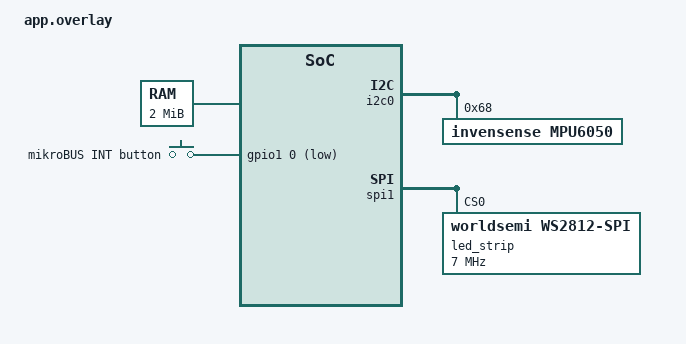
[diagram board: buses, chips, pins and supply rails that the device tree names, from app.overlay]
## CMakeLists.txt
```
cmake_minimum_required(VERSION 3.20.0)

# Tilt Maze reuses the VDMA/HDMI drivers and the out-of-tree devicetree
# bindings from Flappy Microchip rather than copying them.
set(FLAPPY "${CMAKE_CURRENT_SOURCE_DIR}/../flappy-microchip/source")

# The Flappy source root contains dts/bindings/ — tell Zephyr to search it.
list(APPEND DTS_ROOT "${FLAPPY}")

find_package(Zephyr REQUIRED HINTS $ENV{ZEPHYR_BASE})

project(tilt_maze)

set(DRIVERS "${FLAPPY}/drivers")
set(CHIPMUNK "${CMAKE_CURRENT_SOURCE_DIR}/../flappy-chipmunk2d/source/demos/pic64_smp_hello/chipmunk")
file(GLOB CHIPMUNK_SOURCES "${CHIPMUNK}/src/*.c")

target_sources(app PRIVATE
    src/main.c
    src/maze_map.c
    src/maze_physics.c
    src/maze_ui.c
    src/maze_game.c
    src/gy521.c
    src/button.c
    src/led_ring.c
    ${CHIPMUNK_SOURCES}
    src/img_gameover.c
    src/img_victory.c
    src/img_player.c
    src/img_title_top.c
    src/img_title_bot.c
    ${DRIVERS}/vdma_disp/vdma_disp.c
    ${DRIVERS}/hdmi_fb/hdmi_fb.c
)

# hdmi_fb.c includes vdma_disp.h — expose both driver directories
target_include_directories(app PRIVATE
    src
    ${CHIPMUNK}/include
    ${DRIVERS}/vdma_disp
    ${DRIVERS}/hdmi_fb
)

target_link_libraries(app PRIVATE m)
```

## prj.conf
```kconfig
# Tilt Maze controlled by a GY-521 (MPU-6050) IMU over I2C
CONFIG_SMP=y
CONFIG_MP_MAX_NUM_CPUS=4
CONFIG_SCHED_CPU_MASK=y

CONFIG_SERIAL=y
CONFIG_CONSOLE=y
CONFIG_UART_CONSOLE=y
CONFIG_PRINTK=y

CONFIG_MAIN_STACK_SIZE=4096
CONFIG_FPU_SHARING=y
CONFIG_DYNAMIC_INTERRUPTS=y

CONFIG_GPIO=y

# GY-521 (MPU-6050) tilt input via Zephyr Sensor subsystem
CONFIG_I2C=y
CONFIG_SENSOR=y
CONFIG_MPU6050=y
CONFIG_MPU6050_TRIGGER_NONE=y

# ── Thread introspection ────────────────────────────────────────────────────
CONFIG_THREAD_MONITOR=y
CONFIG_THREAD_NAME=y
CONFIG_THREAD_STACK_INFO=y
CONFIG_INIT_STACKS=y

# ── Zephyr shell on UART ────────────────────────────────────────────────────
CONFIG_SHELL=y
CONFIG_SHELL_BACKEND_SERIAL=y
CONFIG_KERNEL_SHELL=y

# ── Display driver ──────────────────────────────────────────────────────────
CONFIG_DISPLAY=y

# ── LVGL ────────────────────────────────────────────────────────────────────
CONFIG_LVGL=y
CONFIG_LV_Z_AUTO_INIT=y
CONFIG_LV_Z_RUN_LVGL_ON_WORKQUEUE=n
CONFIG_LV_COLOR_DEPTH_16=y
CONFIG_LV_Z_VDB_SIZE=5
CONFIG_LV_Z_BUFFER_ALLOC_STATIC=y
# 192 KB heap — complex screens + chart series data
CONFIG_LV_Z_MEM_POOL_SIZE=196608

# ── Widgets ─────────────────────────────────────────────────────────────────
CONFIG_LV_USE_LABEL=y
CONFIG_LV_USE_BAR=y
CONFIG_LV_USE_TABLE=y
CONFIG_LV_USE_ARC=y
CONFIG_LV_USE_CHART=y
CONFIG_LV_USE_BUTTON=y
CONFIG_LV_USE_SLIDER=y
CONFIG_LV_USE_SWITCH=y
CONFIG_LV_USE_CHECKBOX=y
CONFIG_LV_USE_LED=y
CONFIG_LV_USE_ROLLER=y
CONFIG_LV_USE_SCALE=y
CONFIG_LV_USE_LINE=y
CONFIG_LV_USE_SPINBOX=y
CONFIG_LV_USE_DROPDOWN=y
CONFIG_LV_USE_FLEX=y
CONFIG_LV_USE_GRID=y

# ── Fonts ───────────────────────────────────────────────────────────────────
CONFIG_LV_FONT_MONTSERRAT_14=y
CONFIG_LV_FONT_MONTSERRAT_20=y
CONFIG_LV_FONT_MONTSERRAT_32=y
CONFIG_LV_FONT_MONTSERRAT_48=y

# YUYV422 requires even-x pixel-pair alignment for all dirty regions
CONFIG_LV_Z_AREA_X_ALIGNMENT_WIDTH=2
```

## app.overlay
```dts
/*
 * app.overlay — Tilt Maze with GY-521 (MPU-6050) motion control
 *
 * Hardware nodes (VDMA, DC, HDMI framebuffer) are in the shared overlay.
 * This file adds the Zephyr SRAM region and completes the chosen node.
 *
 * SMP atomics (AMO/LR-SC on SiFive U54) require the L2 cache, so Zephyr
 * must run from cached DDR at 0x80000000, not from LIM or scratchpad.
 */

#include <zephyr/dt-bindings/input/input-event-codes.h>
#include <zephyr/dt-bindings/led/led.h>
#include "../flappy-microchip/source/dts/overlays/pic64gx_display.overlay"

/ {
	cached_ram: memory@80000000 {
		compatible = "mmio-sram";
		reg = <0x80000000 0x200000>;   /* 2 MB cached DDR */
	};

	chosen {
		zephyr,sram = &cached_ram;
	};

	aliases {
		mikrobus-btn = &mikrobus_btn;
		led-strip = &led_strip;
	};

	/* mikroBUS INT push button (10k pull-up to 3P3V, other leg to GND) */
	mikrobus_keys {
		compatible = "gpio-keys";

		mikrobus_btn: mikrobus_btn {
			gpios = <&gpio1 0 GPIO_ACTIVE_LOW>;
			label = "mikroBUS INT button";
			zephyr,code = <INPUT_KEY_2>;
		};
	};
};

&i2c0 {
	status = "okay";
	mpu6050: mpu6050@68 {
		compatible = "invensense,mpu6050";
		reg = <0x68>;
		status = "okay";
		accel-fs = <2>;
		gyro-fs = <250>;
		smplrt-div = <4>;
	};
};

/*
 * WS2812 ring on the mikroBUS MOSI pin (DIN), driven by SPI1.
 *
 * The MSS SPI clock is 150 MHz / (2 * (idx + 1)). Asking for 7 MHz selects
 * idx = 11, i.e. 6.25 MHz, so one 8-bit SPI byte is one WS2812 bit (1.28 us):
 *   '1' = 0xF8 -> 800 ns high, 480 ns low
 *   '0' = 0xC0 -> 320 ns high, 960 ns low
 * Requests below ~4.7 MHz do not work: the driver falls back to divider 0.
 */
&spi1 {
	status = "okay";

	led_strip: ws2812@0 {
		compatible = "worldsemi,ws2812-spi";
		reg = <0>;
		spi-max-frequency = <7000000>;
		chain-length = <14>;   /* number of LEDs on the ring */
		color-mapping = <LED_COLOR_ID_GREEN
				 LED_COLOR_ID_RED
				 LED_COLOR_ID_BLUE>;
		spi-one-frame = <0xF8>;
		spi-zero-frame = <0xC0>;
	};
};
```

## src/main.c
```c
/* SPDX-License-Identifier: Apache-2.0
 *
 * Tilt Maze — 2D Marble Labyrinth for PIC64GX Curiosity Kit
 *
 * Controlled by a GY-521 (InvenSense MPU-6050) IMU over I2C.
 * Rendered using native LVGL v9 scene graph objects and Chipmunk2D physics.
 * UI, physics, game rules and sensor each run in their own thread on their
 * own core (see maze_cores.h).
 */

#include <zephyr/kernel.h>
#include <zephyr/drivers/display.h>
#include <zephyr/sys/printk.h>
#include <lvgl.h>

#include "maze_map.h"
#include "maze_physics.h"
#include "maze_ui.h"
#include "maze_game.h"
#include "gy521.h"
#include "button.h"
#include "led_ring.h"

int main(void)
{
	printk("[tilt_maze] Booting Tilt Maze...\n");

	const struct device *display = DEVICE_DT_GET(DT_CHOSEN(zephyr_display));
	if (!device_is_ready(display)) {
		printk("[tilt_maze] Error: Display device not ready!\n");
		return 0;
	}
	display_blanking_off(display);

	/* Build shared state single-threaded, then hand each module its own core */
	maze_map_init();
	maze_physics_init();
	maze_game_init();

	gy521_start();        /* core 3: sensor */
	maze_physics_start(); /* core 1: physics */
	maze_game_start();    /* core 2: game rules */
	maze_ui_start();      /* core 0: LVGL */
	led_ring_start();     /* core 2: LED ring follows the game state */
	button_start(maze_game_on_button); /* core 3: button controls game start/restart */

	printk("[tilt_maze] Initialization complete. UI/physics/game/sensor running on cores 0-3.\n");

	/* Everything runs in the pinned threads; main has nothing left to do. */
	return 0;
}
```

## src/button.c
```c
/* SPDX-License-Identifier: Apache-2.0 */
/*
 * mikroBUS INT push button for Tilt Maze (gpio1 pin 0, see app.overlay).
 *
 * A polling thread debounces the button and invokes the callback on press.
 */

#include "button.h"
#include "maze_cores.h"

#include <zephyr/kernel.h>
#include <zephyr/drivers/gpio.h>
#include <zephyr/sys/printk.h>

#define BUTTON_STACK         2048
#define BUTTON_PRIO          5
#define POLL_MS              10
#define DEBOUNCE_SAMPLES     3     /* equal reads in a row before a change counts */
#define BUTTON_LONG_PRESS_MS 1000  /* held >= 1s is long press */

static const struct gpio_dt_spec btn = GPIO_DT_SPEC_GET(DT_ALIAS(mikrobus_btn), gpios);

static K_THREAD_STACK_DEFINE(button_stack, BUTTON_STACK);
static struct k_thread button_thread;

static void button_fn(void *p1, void *p2, void *p3)
{
	void (*on_event)(button_event_t event) = p1;

	ARG_UNUSED(p2); ARG_UNUSED(p3);

	if (!gpio_is_ready_dt(&btn) || gpio_pin_configure_dt(&btn, GPIO_INPUT) != 0) {
		printk("[button] GPIO not ready\n");
		return;
	}

	int pressed = gpio_pin_get_dt(&btn);
	int differing = 0;
	int held_ms = 0;
	bool long_pressed = false;

	printk("[button] mikroBUS button ready (long press = %d ms)\n", BUTTON_LONG_PRESS_MS);

	while (true) {
		int level = gpio_pin_get_dt(&btn);

		if (level == pressed) {
			differing = 0;
		} else if (++differing >= DEBOUNCE_SAMPLES) {
			pressed = level;
			differing = 0;

			if (!pressed) {
				/* Button released */
				if (!long_pressed && held_ms > 0) {
					printk("[button] Short press\n");
					if (on_event) {
						on_event(BUTTON_EVENT_SHORT);
					}
				}
				held_ms = 0;
				long_pressed = false;
			} else {
				/* Button pressed down */
				held_ms = 0;
				long_pressed = false;
			}
		}

		if (pressed && !long_pressed) {
			held_ms += POLL_MS;
			if (held_ms >= BUTTON_LONG_PRESS_MS) {
				long_pressed = true;
				printk("[button] Long press\n");
				if (on_event) {
					on_event(BUTTON_EVENT_LONG);
				}
			}
		}

		k_msleep(POLL_MS);
	}
}

void button_start(void (*on_event)(button_event_t event))
{
	k_tid_t tid = k_thread_create(&button_thread, button_stack,
				      K_THREAD_STACK_SIZEOF(button_stack), button_fn,
				      on_event, NULL, NULL, BUTTON_PRIO, 0, K_FOREVER);

	k_thread_name_set(tid, "button");
	k_thread_cpu_mask_clear(tid);
	k_thread_cpu_mask_enable(tid, MAZE_CORE_BUTTON);
	k_thread_start(tid);
}
```

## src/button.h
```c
/* SPDX-License-Identifier: Apache-2.0 */
#ifndef SRC_BUTTON_H
#define SRC_BUTTON_H

typedef enum {
	BUTTON_EVENT_SHORT,
	BUTTON_EVENT_LONG,
} button_event_t;

/**
 * Start the mikroBUS INT push-button thread (pinned to MAZE_CORE_BUTTON).
 *
 * The button is polled and debounced. Short presses fire BUTTON_EVENT_SHORT
 * upon release. Long presses fire BUTTON_EVENT_LONG when held for >= 1 second.
 */
void button_start(void (*on_event)(button_event_t event));

#endif /* SRC_BUTTON_H */
```

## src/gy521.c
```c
/* SPDX-License-Identifier: Apache-2.0 */
/*
 * GY-521 (InvenSense MPU-6050) tilt input for Tilt Maze.
 *
 * Uses Zephyr's standard sensor subsystem (<zephyr/drivers/sensor.h>)
 * and the upstream MPU-6050 driver (CONFIG_MPU6050=y).
 *
 * A reader thread samples the accelerometer at 100 Hz and turns the gravity
 * vector on the X/Y axes into a smoothed tilt that the game polls once per
 * frame through gy521_get_tilt(). It runs pinned to its own core.
 */

#include "gy521.h"
#include "maze_cores.h"

#include <zephyr/kernel.h>
#include <zephyr/device.h>
#include <zephyr/drivers/sensor.h>
#include <zephyr/sys/atomic.h>
#include <zephyr/sys/printk.h>

/* ── Tuning ───────────────────────────────────────────────────────────────── */
#define TILT_INVERT_X   1
#define TILT_INVERT_Y   1
#define TILT_SWAP_XY    1

/* Weight of each new sample in the low-pass filter. Lower is smoother but laggier. */
#define TILT_FILTER_ALPHA  0.1f

#define SAMPLE_PERIOD_MS   10   /* 100 Hz */

/* Standard gravity in m/s^2 (Zephyr sensor subsystem reports m/s^2) */
#define GRAVITY_MSS        9.80665f

#define GY521_DEBUG_PRINT    0
#define DEBUG_PRINT_EVERY_N  10

/* ── State shared with the game ───────────────────────────────────────────── */

/* Tilt in micro-g, so that x and y can be shared as plain atomics. */
static atomic_t tilt_x_ug;
static atomic_t tilt_y_ug;
static atomic_t sensor_ready;

bool gy521_ready(void)
{
	return atomic_get(&sensor_ready) != 0;
}

void gy521_get_tilt(float *x, float *y)
{
	*x = (float)atomic_get(&tilt_x_ug) / 1e6f;
	*y = (float)atomic_get(&tilt_y_ug) / 1e6f;
}

/* ── Reader thread ────────────────────────────────────────────────────────── */

#define GY521_STACK 2048
#define GY521_PRIO  5
#define MAX_CONSECUTIVE_ERRORS 20

static K_THREAD_STACK_DEFINE(gy521_stack, GY521_STACK);
static struct k_thread gy521_thread;

static void gy521_fn(void *p1, void *p2, void *p3)
{
	ARG_UNUSED(p1); ARG_UNUSED(p2); ARG_UNUSED(p3);

	const struct device *const dev = DEVICE_DT_GET_ANY(invensense_mpu6050);

	if (!dev || !device_is_ready(dev)) {
		printk("[gy521] MPU-6050 sensor device not ready / not found\n");
		return;
	}

	atomic_set(&sensor_ready, 1);
	printk("[gy521] MPU-6050 ready via Zephyr sensor subsystem, streaming tilt\n");

	float fx = 0.0f, fy = 0.0f;
	int errors = 0;
	unsigned int n = 0;
	struct sensor_value accel[3];

	while (true) {
		int ret = sensor_sample_fetch_chan(dev, SENSOR_CHAN_ACCEL_XYZ);
		if (ret == 0) {
			ret = sensor_channel_get(dev, SENSOR_CHAN_ACCEL_XYZ, accel);
		}

		if (ret != 0) {
			if (++errors >= MAX_CONSECUTIVE_ERRORS) {
				printk("[gy521] too many sensor read errors (%d), stopping\n", ret);
				break;
			}
		} else {
			errors = 0;

			/* Convert m/s^2 to g */
			float ax = (float)sensor_value_to_double(&accel[0]) / GRAVITY_MSS;
			float ay = (float)sensor_value_to_double(&accel[1]) / GRAVITY_MSS;

			if (TILT_SWAP_XY) {
				float t = ax; ax = ay; ay = t;
			}
			if (TILT_INVERT_X) {
				ax = -ax;
			}
			if (TILT_INVERT_Y) {
				ay = -ay;
			}

			fx += TILT_FILTER_ALPHA * (ax - fx);
			fy += TILT_FILTER_ALPHA * (ay - fy);
			atomic_set(&tilt_x_ug, (atomic_val_t)(fx * 1e6f));
			atomic_set(&tilt_y_ug, (atomic_val_t)(fy * 1e6f));

			if (GY521_DEBUG_PRINT && ++n % DEBUG_PRINT_EVERY_N == 0) {
				printk("[gy521] tilt x=%d y=%d (mg)\n",
				       (int)(fx * 1000.0f), (int)(fy * 1000.0f));
			}
		}

		k_msleep(SAMPLE_PERIOD_MS);
	}

	/* Sensor lost: stop steering rather than freezing on the last tilt. */
	atomic_set(&sensor_ready, 0);
	atomic_set(&tilt_x_ug, 0);
	atomic_set(&tilt_y_ug, 0);
}

void gy521_start(void)
{
	maze_thread_spawn(&gy521_thread, gy521_stack,
			  K_THREAD_STACK_SIZEOF(gy521_stack),
			  gy521_fn, GY521_PRIO, MAZE_CORE_SENSOR, "gy521");
}
```

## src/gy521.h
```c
/* SPDX-License-Identifier: Apache-2.0 */
#ifndef SRC_GY521_H
#define SRC_GY521_H

#include <stdbool.h>

/**
 * Start the GY-521 (InvenSense MPU-6050) reader thread.
 *
 * The thread probes i2c0/i2c1 for the sensor, configures it and then samples
 * the accelerometer at 100 Hz. The tilt of the board is the gravity vector seen
 * on the X and Y axes. If no sensor answers the thread exits and the tilt stays
 * at zero, so it is safe to call without a GY-521 attached.
 */
void gy521_start(void);

/** True once the sensor has been found and is streaming. */
bool gy521_ready(void);

/**
 * Low-pass filtered tilt in g. With the board lying flat both are ~0, and
 * they approach +/-1 as it is tipped up on its side.
 */
void gy521_get_tilt(float *x, float *y);

#endif /* SRC_GY521_H */
```

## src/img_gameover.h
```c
/* Auto-generated LVGL ARGB8888 image descriptor */
#ifndef IMG_GAMEOVER_H
#define IMG_GAMEOVER_H
#include <lvgl.h>
extern const lv_image_dsc_t img_gameover;
#endif
```

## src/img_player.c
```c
/* Auto-generated LVGL ARGB8888 image - PIC8 character sprite 28x28 */
#include "img_player.h"

static const uint8_t img_player_map[] = {
    0x00, 0x00, 0x00, 0x00, 0x00, 0x00, 0x00, 0x00, 0x00, 0x00, 0x00, 0x00, 0x00, 0x00, 0x00, 0x00, 0x02, 0x03, 0x01, 0xff, 0x02, 0x02, 0x02, 0xff, 0x01, 0x01, 0x01, 0xff, 0x02, 0x02, 0x02, 0xff, 0x00, 0x00, 0x00, 0xff, 0x04, 0x02, 0x01, 0xff, 0x00, 0x00, 0x00, 0xff, 0x01, 0x00, 0x02, 0xff, 0x01, 0x01, 0x01, 0xff, 0x00, 0x00, 0x00, 0xff, 0x00, 0x00, 0x00, 0xff, 0x01, 0x01, 0x01, 0xff, 0x00, 0x00, 0x00, 0xff, 0x00, 0x00, 0x00, 0xff, 0x00, 0x00, 0x00, 0xff, 0x01, 0x01, 0x01, 0xff, 0x00, 0x00, 0x00, 0xff, 0x01, 0x01, 0x01, 0xff, 0x00, 0x01, 0x01, 0xff, 0x03, 0x03, 0x03, 0xff, 0x00, 0x00, 0x00, 0x00, 0x00, 0x00, 0x00, 0x00, 0x00, 0x00, 0x00, 0x00, 0x00, 0x00, 0x00, 0x00,
    0x00, 0x00, 0x00, 0x00, 0x00, 0x00, 0x00, 0x00, 0x00, 0x00, 0x00, 0x00, 0x03, 0x03, 0x03, 0xff, 0x01, 0x03, 0x03, 0xff, 0x92, 0x97, 0x9a, 0xff, 0x8e, 0x91, 0x99, 0xff, 0x8f, 0x94, 0x97, 0xff, 0x8f, 0x94, 0x97, 0xff, 0x92, 0x97, 0x9a, 0xff, 0x92, 0x95, 0x9a, 0xff, 0x90, 0x94, 0x99, 0xff, 0x46, 0x3d, 0x40, 0xff, 0x49, 0x40, 0x43, 0xff, 0x48, 0x43, 0x45, 0xff, 0x45, 0x40, 0x42, 0xff, 0x90, 0x97, 0x9a, 0xff, 0x92, 0x95, 0x99, 0xff, 0x92, 0x95, 0x99, 0xff, 0x91, 0x94, 0x99, 0xff, 0x91, 0x94, 0x99, 0xff, 0x92, 0x97, 0x98, 0xff, 0x91, 0x95, 0x9a, 0xff, 0x03, 0x03, 0x03, 0xff, 0x01, 0x01, 0x01, 0xff, 0x00, 0x00, 0x00, 0x00, 0x00, 0x00, 0x00, 0x00, 0x00, 0x00, 0x00, 0x00,
    0x00, 0x00, 0x00, 0x00, 0x00, 0x00, 0x00, 0x00, 0x00, 0x00, 0x00, 0x00, 0x00, 0x00, 0x00, 0xff, 0x60, 0x5a, 0x5f, 0xff, 0x60, 0x5f, 0x63, 0xff, 0x5f, 0x5e, 0x60, 0xff, 0x5f, 0x5e, 0x62, 0xff, 0x5f, 0x5e, 0x62, 0xff, 0x60, 0x5f, 0x63, 0xff, 0x5e, 0x5d, 0x5f, 0xff, 0x5c, 0x5b, 0x5d, 0xff, 0x8a, 0x8f, 0x92, 0xff, 0x45, 0x3e, 0x41, 0xff, 0x48, 0x41, 0x44, 0xff, 0x8e, 0x92, 0x93, 0xff, 0x60, 0x5d, 0x5f, 0xff, 0x5f, 0x5e, 0x62, 0xff, 0x61, 0x60, 0x62, 0xff, 0x60, 0x5f, 0x61, 0xff, 0x5c, 0x5d, 0x61, 0xff, 0x5e, 0x5d, 0x5f, 0xff, 0x5e, 0x5d, 0x61, 0xff, 0x62, 0x5b, 0x62, 0xff, 0x02, 0x02, 0x02, 0xff, 0x00, 0x00, 0x00, 0x00, 0x00, 0x00, 0x00, 0x00, 0x00, 0x00, 0x00, 0x00,
    0x01, 0x01, 0x01, 0xff, 0x00, 0x00, 0x01, 0xff, 0x03, 0x04, 0x02, 0xff, 0x03, 0x03, 0x03, 0xff, 0x61, 0x5b, 0x60, 0xff, 0x5b, 0x5b, 0x61, 0xff, 0xe5, 0xe4, 0xe6, 0xff, 0xe6, 0xe4, 0xe4, 0xff, 0x60, 0x5f, 0x63, 0xff, 0x5e, 0x5d, 0x61, 0xff, 0x5e, 0x5d, 0x61, 0xff, 0x5d, 0x5c, 0x60, 0xff, 0x60, 0x5f, 0x61, 0xff, 0x60, 0x60, 0x60, 0xff, 0x60, 0x5f, 0x61, 0xff, 0x5f, 0x5e, 0x62, 0xff, 0x61, 0x5e, 0x60, 0xff, 0x5f, 0x5e, 0x62, 0xff, 0x5d, 0x5d, 0x63, 0xff, 0x5f, 0x5f, 0x5f, 0xff, 0x5f, 0x5e, 0x60, 0xff, 0x5f, 0x5f, 0x5f, 0xff, 0x5e, 0x5d, 0x61, 0xff, 0x63, 0x5d, 0x62, 0xff, 0x04, 0x04, 0x04, 0xff, 0x01, 0x01, 0x01, 0xff, 0x00, 0x00, 0x00, 0xff, 0x01, 0x02, 0x00, 0xff,
    0x00, 0x01, 0x02, 0xff, 0x71, 0x9b, 0xdc, 0xff, 0x43, 0x5f, 0x9f, 0xff, 0x00, 0x01, 0x00, 0xff, 0x5f, 0x59, 0x5e, 0xff, 0x60, 0x5f, 0x61, 0xff, 0x62, 0x61, 0x63, 0xff, 0x60, 0x62, 0x63, 0xff, 0x5e, 0x5f, 0x63, 0xff, 0x5c, 0x5e, 0x5f, 0xff, 0x5e, 0x5d, 0x5f, 0xff, 0x5d, 0x5c, 0x60, 0xff, 0x5e, 0x5d, 0x5f, 0xff, 0x5e, 0x5d, 0x5f, 0xff, 0x60, 0x5f, 0x63, 0xff, 0x5e, 0x5e, 0x5e, 0xff, 0x60, 0x5f, 0x61, 0xff, 0x5b, 0x5d, 0x5e, 0xff, 0x5e, 0x5e, 0x5e, 0xff, 0x5f, 0x5e, 0x60, 0xff, 0x5e, 0x5f, 0x63, 0xff, 0x5f, 0x5e, 0x62, 0xff, 0x60, 0x5f, 0x63, 0xff, 0x5e, 0x58, 0x5d, 0xff, 0x00, 0x00, 0x00, 0xff, 0x40, 0x5c, 0x99, 0xff, 0x6f, 0x99, 0xdc, 0xff, 0x00, 0x00, 0x01, 0xff,
    0x00, 0x00, 0x00, 0xff, 0x6c, 0x96, 0xdd, 0xff, 0x3f, 0x5a, 0x9a, 0xff, 0x03, 0x03, 0x03, 0xff, 0x63, 0x5e, 0x60, 0xff, 0x5e, 0x5f, 0x63, 0xff, 0x5d, 0x5c, 0x5e, 0xff, 0x5e, 0x5e, 0x5e, 0xff, 0x5e, 0x5d, 0x61, 0xff, 0x61, 0x60, 0x62, 0xff, 0x60, 0x60, 0x60, 0xff, 0x5f, 0x5e, 0x62, 0xff, 0x5d, 0x5e, 0x62, 0xff, 0x60, 0x60, 0x60, 0xff, 0x5c, 0x5e, 0x5f, 0xff, 0x5e, 0x5e, 0x5e, 0xff, 0x5c, 0x5b, 0x5d, 0xff, 0x5e, 0x5f, 0x63, 0xff, 0x5e, 0x5d, 0x5f, 0xff, 0x5e, 0x5d, 0x5f, 0xff, 0x5c, 0x5c, 0x5c, 0xff, 0x5e, 0x5e, 0x5e, 0xff, 0x5c, 0x5c, 0x5c, 0xff, 0x60, 0x5a, 0x5f, 0xff, 0x00, 0x00, 0x00, 0xff, 0x42, 0x5e, 0x9f, 0xff, 0x6c, 0x95, 0xda, 0xff, 0x00, 0x00, 0x00, 0xff,
    0x00, 0x01, 0x05, 0xff, 0x00, 0x00, 0x00, 0xff, 0x00, 0x00, 0x00, 0xff, 0x03, 0x03, 0x03, 0xff, 0x60, 0x5f, 0x63, 0xff, 0x61, 0x60, 0x62, 0xff, 0x5d, 0x5e, 0x62, 0xff, 0x5d, 0x5f, 0x60, 0xff, 0x5d, 0x5c, 0x60, 0xff, 0x5c, 0x5a, 0x60, 0xff, 0x5c, 0x5e, 0x5f, 0xff, 0x61, 0x60, 0x64, 0xff, 0x61, 0x60, 0x64, 0xff, 0x5c, 0x5e, 0x5f, 0xff, 0x5f, 0x5b, 0x60, 0xff, 0x5a, 0x5c, 0x5d, 0xff, 0x5d, 0x5f, 0x60, 0xff, 0x60, 0x5f, 0x61, 0xff, 0x60, 0x5f, 0x61, 0xff, 0x60, 0x5f, 0x61, 0xff, 0x5e, 0x5d, 0x5f, 0xff, 0x5d, 0x5c, 0x5e, 0xff, 0x5e, 0x60, 0x61, 0xff, 0x63, 0x5c, 0x63, 0xff, 0x03, 0x03, 0x03, 0xff, 0x03, 0x02, 0x04, 0xff, 0x02, 0x02, 0x02, 0xff, 0x00, 0x00, 0x00, 0xff,
    0x00, 0x00, 0x00, 0x00, 0x00, 0x00, 0x00, 0x00, 0x00, 0x00, 0x00, 0x00, 0x00, 0x00, 0x00, 0xff, 0x5c, 0x58, 0x5e, 0xff, 0x5d, 0x5e, 0x62, 0xff, 0x60, 0x5f, 0x63, 0xff, 0x60, 0x5f, 0x61, 0xff, 0xed, 0xed, 0xee, 0xff, 0x5d, 0x5c, 0x60, 0xff, 0xec, 0xec, 0xec, 0xff, 0x59, 0x58, 0x5c, 0xff, 0xee, 0xec, 0xec, 0xff, 0x64, 0x61, 0x63, 0xff, 0xe8, 0xe7, 0xeb, 0xff, 0x5a, 0x59, 0x5d, 0xff, 0x5a, 0x59, 0x5b, 0xff, 0xe7, 0xe6, 0xe8, 0xff, 0x60, 0x5f, 0x61, 0xff, 0xec, 0xec, 0xec, 0xff, 0x61, 0x60, 0x62, 0xff, 0x5f, 0x5e, 0x60, 0xff, 0x5c, 0x5b, 0x5f, 0xff, 0x60, 0x59, 0x60, 0xff, 0x01, 0x01, 0x01, 0xff, 0x00, 0x00, 0x00, 0x00, 0x00, 0x00, 0x00, 0x00, 0x00, 0x00, 0x00, 0x00,
    0x00, 0x00, 0x00, 0x00, 0x00, 0x00, 0x00, 0x00, 0x00, 0x00, 0x00, 0x00, 0x00, 0x00, 0x00, 0xff, 0x60, 0x59, 0x60, 0xff, 0x5f, 0x5e, 0x62, 0xff, 0x5e, 0x5f, 0x63, 0xff, 0x5b, 0x5e, 0x62, 0xff, 0xea, 0xea, 0xeb, 0xff, 0xeb, 0xea, 0xec, 0xff, 0xd9, 0xd9, 0xd9, 0xff, 0x5d, 0x5c, 0x60, 0xff, 0xe9, 0xe6, 0xe8, 0xff, 0x5d, 0x5f, 0x60, 0xff, 0xee, 0xed, 0xef, 0xff, 0x60, 0x61, 0x65, 0xff, 0x5c, 0x5e, 0x5f, 0xff, 0x5a, 0x59, 0x5d, 0xff, 0xe9, 0xe8, 0xea, 0xff, 0xec, 0xec, 0xec, 0xff, 0x60, 0x5f, 0x61, 0xff, 0x5e, 0x60, 0x61, 0xff, 0x5e, 0x5d, 0x61, 0xff, 0x60, 0x59, 0x60, 0xff, 0x00, 0x00, 0x00, 0xff, 0x00, 0x00, 0x00, 0x00, 0x00, 0x00, 0x00, 0x00, 0x00, 0x00, 0x00, 0x00,
    0x00, 0x00, 0x00, 0x00, 0x00, 0x00, 0x00, 0x00, 0x00, 0x00, 0x00, 0x00, 0x04, 0x04, 0x04, 0xff, 0x62, 0x5e, 0x63, 0xff, 0x5c, 0x5c, 0x62, 0xff, 0x5c, 0x5b, 0x5f, 0xff, 0x5f, 0x5f, 0x5f, 0xff, 0xe6, 0xe5, 0xe7, 0xff, 0x5e, 0x5d, 0x61, 0xff, 0x5e, 0x5d, 0x5f, 0xff, 0xeb, 0xea, 0xec, 0xff, 0xe8, 0xe7, 0xe9, 0xff, 0xe5, 0xe6, 0xe4, 0xff, 0xef, 0xee, 0xf0, 0xff, 0xea, 0xe9, 0xeb, 0xff, 0xec, 0xed, 0xeb, 0xff, 0xeb, 0xeb, 0xeb, 0xff, 0xe7, 0xe7, 0xe7, 0xff, 0xe9, 0xe7, 0xe9, 0xff, 0x5d, 0x5c, 0x60, 0xff, 0x5c, 0x5b, 0x5f, 0xff, 0x5d, 0x5c, 0x60, 0xff, 0x62, 0x5c, 0x61, 0xff, 0x00, 0x01, 0x01, 0xff, 0x00, 0x00, 0x00, 0x00, 0x00, 0x00, 0x00, 0x00, 0x00, 0x00, 0x00, 0x00,
    0x00, 0x02, 0x02, 0xff, 0x6a, 0x94, 0xdb, 0xff, 0x3e, 0x59, 0x99, 0xff, 0x01, 0x01, 0x01, 0xff, 0x61, 0x5a, 0x61, 0xff, 0x5e, 0x5d, 0x5f, 0xff, 0x5e, 0x5d, 0x61, 0xff, 0x5d, 0x5c, 0x60, 0xff, 0x5c, 0x5b, 0x5f, 0xff, 0x5e, 0x5d, 0x5f, 0xff, 0x5e, 0x5f, 0x63, 0xff, 0x5c, 0x5b, 0x5f, 0xff, 0x5e, 0x5d, 0x61, 0xff, 0x5c, 0x5d, 0x61, 0xff, 0x5e, 0x5d, 0x61, 0xff, 0x5d, 0x5c, 0x5e, 0xff, 0x5c, 0x5d, 0x61, 0xff, 0x5e, 0x5d, 0x5f, 0xff, 0x5f, 0x5f, 0x5f, 0xff, 0x5e, 0x5d, 0x5f, 0xff, 0x5f, 0x5e, 0x60, 0xff, 0x5f, 0x5e, 0x60, 0xff, 0x5e, 0x5d, 0x5f, 0xff, 0x5f, 0x58, 0x5f, 0xff, 0x02, 0x03, 0x01, 0xff, 0x3e, 0x59, 0x99, 0xff, 0x6b, 0x95, 0xdc, 0xff, 0x01, 0x00, 0x02, 0xff,
    0x00, 0x00, 0x00, 0xff, 0x70, 0x97, 0xdb, 0xff, 0x44, 0x60, 0xa1, 0xff, 0x00, 0x00, 0x00, 0xff, 0x5e, 0x5a, 0x60, 0xff, 0x5f, 0x60, 0x64, 0xff, 0x5f, 0x5e, 0x62, 0xff, 0x5f, 0x5e, 0x60, 0xff, 0x5f, 0x5e, 0x62, 0xff, 0x5d, 0x5e, 0x62, 0xff, 0x5f, 0x5e, 0x60, 0xff, 0xe4, 0xe3, 0xe7, 0xff, 0xe6, 0xe6, 0xe6, 0xff, 0xe7, 0xe7, 0xe7, 0xff, 0x5d, 0x5f, 0x60, 0xff, 0xea, 0xea, 0xea, 0xff, 0xe6, 0xe5, 0xe7, 0xff, 0x5f, 0x5e, 0x62, 0xff, 0x5f, 0x5e, 0x60, 0xff, 0x5f, 0x5e, 0x60, 0xff, 0x5e, 0x5d, 0x61, 0xff, 0x60, 0x5f, 0x61, 0xff, 0x5d, 0x5c, 0x60, 0xff, 0x61, 0x59, 0x60, 0xff, 0x00, 0x00, 0x00, 0xff, 0x43, 0x61, 0xa2, 0xff, 0x6d, 0x97, 0xda, 0xff, 0x00, 0x00, 0x00, 0xff,
    0x02, 0x02, 0x02, 0xff, 0x01, 0x01, 0x01, 0xff, 0x02, 0x05, 0x03, 0xff, 0x03, 0x03, 0x03, 0xff, 0x63, 0x5c, 0x63, 0xff, 0x5f, 0x5c, 0x5e, 0xff, 0x5c, 0x5b, 0x5f, 0xff, 0x5f, 0x5e, 0x62, 0xff, 0x5d, 0x5c, 0x60, 0xff, 0x5d, 0x5c, 0x5e, 0xff, 0x5f, 0x5e, 0x60, 0xff, 0x5f, 0x5f, 0x5f, 0xff, 0xe6, 0xe5, 0xe7, 0xff, 0x5c, 0x5b, 0x5d, 0xff, 0xea, 0xe9, 0xeb, 0xff, 0x5d, 0x5e, 0x62, 0xff, 0x5e, 0x5d, 0x5f, 0xff, 0x5e, 0x5d, 0x61, 0xff, 0x5e, 0x5d, 0x5f, 0xff, 0x5d, 0x5c, 0x5e, 0xff, 0x5e, 0x5d, 0x61, 0xff, 0x60, 0x5f, 0x63, 0xff, 0x5c, 0x5b, 0x5d, 0xff, 0x61, 0x5b, 0x60, 0xff, 0x03, 0x03, 0x03, 0xff, 0x00, 0x00, 0x00, 0xff, 0x01, 0x01, 0x01, 0xff, 0x00, 0x01, 0x01, 0xff,
    0x00, 0x00, 0x00, 0x00, 0x00, 0x00, 0x00, 0x00, 0x00, 0x00, 0x00, 0x00, 0x01, 0x01, 0x01, 0xff, 0x5f, 0x58, 0x5f, 0xff, 0x5e, 0x5d, 0x5f, 0xff, 0x5d, 0x5c, 0x60, 0xff, 0x5d, 0x5f, 0x60, 0xff, 0x5d, 0x5c, 0x60, 0xff, 0x5f, 0x5e, 0x60, 0xff, 0x5d, 0x5f, 0x60, 0xff, 0x5e, 0x5d, 0x61, 0xff, 0xe7, 0xe6, 0xe8, 0xff, 0x5f, 0x61, 0x62, 0xff, 0xe9, 0xe6, 0xe8, 0xff, 0x5c, 0x5b, 0x5f, 0xff, 0x60, 0x5f, 0x61, 0xff, 0x5f, 0x61, 0x62, 0xff, 0x5e, 0x5d, 0x5f, 0xff, 0x5e, 0x5d, 0x61, 0xff, 0x5d, 0x5c, 0x60, 0xff, 0x60, 0x5f, 0x63, 0xff, 0x5f, 0x5b, 0x60, 0xff, 0x61, 0x5b, 0x60, 0xff, 0x00, 0x00, 0x00, 0xff, 0x00, 0x00, 0x00, 0x00, 0x00, 0x00, 0x00, 0x00, 0x00, 0x00, 0x00, 0x00,
    0x00, 0x00, 0x00, 0x00, 0x00, 0x00, 0x00, 0x00, 0x00, 0x00, 0x00, 0x00, 0x00, 0x00, 0x00, 0xff, 0x60, 0x5c, 0x62, 0xff, 0x5e, 0x60, 0x61, 0xff, 0x5d, 0x5f, 0x60, 0xff, 0x5e, 0x5d, 0x5f, 0xff, 0x61, 0x5e, 0x60, 0xff, 0x60, 0x5d, 0x5f, 0xff, 0x5f, 0x5e, 0x60, 0xff, 0xd9, 0xd8, 0xda, 0xff, 0xd4, 0xd3, 0xd5, 0xff, 0xd9, 0xd8, 0xda, 0xff, 0x60, 0x62, 0x63, 0xff, 0xd9, 0xdb, 0xdc, 0xff, 0xd8, 0xd5, 0xd7, 0xff, 0x60, 0x5c, 0x61, 0xff, 0x61, 0x5e, 0x60, 0xff, 0x60, 0x5f, 0x61, 0xff, 0x5e, 0x5e, 0x5e, 0xff, 0x5f, 0x5e, 0x60, 0xff, 0x62, 0x5f, 0x61, 0xff, 0x61, 0x5b, 0x60, 0xff, 0x01, 0x01, 0x01, 0xff, 0x00, 0x00, 0x00, 0x00, 0x00, 0x00, 0x00, 0x00, 0x00, 0x00, 0x00, 0x00,
    0x13, 0x12, 0x14, 0xff, 0x0e, 0x0e, 0x0e, 0xff, 0x0f, 0x0f, 0x0f, 0xff, 0x04, 0x04, 0x04, 0xff, 0x63, 0x5d, 0x62, 0xff, 0x5f, 0x5e, 0x60, 0xff, 0x5f, 0x60, 0x64, 0xff, 0x62, 0x5f, 0x61, 0xff, 0x62, 0x5f, 0x61, 0xff, 0x5d, 0x5c, 0x5e, 0xff, 0x5d, 0x5c, 0x5e, 0xff, 0x5d, 0x5c, 0x5e, 0xff, 0x60, 0x5f, 0x61, 0xff, 0x60, 0x5f, 0x61, 0xff, 0x60, 0x5f, 0x63, 0xff, 0x5f, 0x5f, 0x5f, 0xff, 0x5e, 0x5e, 0x5e, 0xff, 0x5a, 0x5c, 0x5c, 0xff, 0x5f, 0x5f, 0x5f, 0xff, 0x5e, 0x5e, 0x5e, 0xff, 0x5e, 0x5f, 0x63, 0xff, 0x60, 0x5d, 0x5f, 0xff, 0x5f, 0x5e, 0x62, 0xff, 0x60, 0x5a, 0x5f, 0xff, 0x04, 0x04, 0x04, 0xff, 0x11, 0x11, 0x11, 0xff, 0x0f, 0x0e, 0x10, 0xff, 0x0e, 0x10, 0x11, 0xff,
    0x00, 0x01, 0x02, 0xff, 0x70, 0x9a, 0xdd, 0xff, 0x41, 0x5c, 0x9c, 0xff, 0x00, 0x00, 0x00, 0xff, 0x5e, 0x5a, 0x5f, 0xff, 0x5f, 0x5e, 0x60, 0xff, 0x61, 0x5e, 0x60, 0xff, 0x5f, 0x5e, 0x60, 0xff, 0x60, 0x5f, 0x63, 0xff, 0x5e, 0x5d, 0x61, 0xff, 0x5f, 0x5e, 0x60, 0xff, 0x61, 0x5e, 0x60, 0xff, 0x5d, 0x5c, 0x60, 0xff, 0x5e, 0x5d, 0x5f, 0xff, 0x5f, 0x5e, 0x60, 0xff, 0x5e, 0x5d, 0x5f, 0xff, 0x5f, 0x5e, 0x60, 0xff, 0x5d, 0x5c, 0x5e, 0xff, 0x5e, 0x5d, 0x5f, 0xff, 0x5f, 0x5f, 0x5f, 0xff, 0x60, 0x5f, 0x63, 0xff, 0x5f, 0x5e, 0x60, 0xff, 0x61, 0x5d, 0x62, 0xff, 0x5f, 0x58, 0x5f, 0xff, 0x00, 0x00, 0x00, 0xff, 0x3d, 0x59, 0x96, 0xff, 0x70, 0x9b, 0xde, 0xff, 0x00, 0x01, 0x02, 0xff,
    0x00, 0x02, 0x03, 0xff, 0x6c, 0x96, 0xdd, 0xff, 0x41, 0x5d, 0x9a, 0xff, 0x03, 0x03, 0x03, 0xff, 0x5f, 0x59, 0x5e, 0xff, 0x5f, 0x5e, 0x62, 0xff, 0x5f, 0x5e, 0x62, 0xff, 0x5f, 0x5e, 0x60, 0xff, 0x5f, 0x5e, 0x60, 0xff, 0x5d, 0x5c, 0x60, 0xff, 0x5a, 0x59, 0x5d, 0xff, 0xe9, 0xe8, 0xea, 0xff, 0xec, 0xec, 0xec, 0xff, 0xed, 0xed, 0xed, 0xff, 0x5d, 0x5f, 0x60, 0xff, 0x60, 0x5d, 0x5f, 0xff, 0x5f, 0x5f, 0x5f, 0xff, 0xec, 0xec, 0xec, 0xff, 0xe9, 0xe9, 0xe9, 0xff, 0xe7, 0xe6, 0xe8, 0xff, 0x60, 0x5f, 0x61, 0xff, 0x63, 0x5e, 0x60, 0xff, 0x5f, 0x5e, 0x60, 0xff, 0x61, 0x5a, 0x61, 0xff, 0x01, 0x01, 0x01, 0xff, 0x40, 0x5c, 0x99, 0xff, 0x6d, 0x96, 0xdb, 0xff, 0x00, 0x00, 0x01, 0xff,
    0x01, 0x01, 0x01, 0xff, 0x00, 0x00, 0x00, 0xff, 0x00, 0x00, 0x00, 0xff, 0x02, 0x02, 0x02, 0xff, 0x62, 0x5c, 0x61, 0xff, 0x5e, 0x5e, 0x5e, 0xff, 0x5f, 0x5e, 0x62, 0xff, 0x5f, 0x5f, 0x5f, 0xff, 0x5e, 0x5d, 0x61, 0xff, 0x5f, 0x5e, 0x60, 0xff, 0xef, 0xef, 0xef, 0xff, 0x61, 0x60, 0x62, 0xff, 0xeb, 0xeb, 0xeb, 0xff, 0x59, 0x58, 0x5c, 0xff, 0x5c, 0x5b, 0x5f, 0xff, 0x5e, 0x60, 0x61, 0xff, 0x5f, 0x5e, 0x62, 0xff, 0xe7, 0xe7, 0xe7, 0xff, 0x5b, 0x5a, 0x5e, 0xff, 0xec, 0xec, 0xec, 0xff, 0x60, 0x5f, 0x61, 0xff, 0x5e, 0x5d, 0x5f, 0xff, 0x5f, 0x5e, 0x60, 0xff, 0x61, 0x5b, 0x60, 0xff, 0x02, 0x02, 0x02, 0xff, 0x00, 0x00, 0x00, 0xff, 0x00, 0x02, 0x02, 0xff, 0x00, 0x00, 0x00, 0xff,
    0x00, 0x00, 0x00, 0x00, 0x00, 0x00, 0x00, 0x00, 0x00, 0x00, 0x00, 0x00, 0x00, 0x00, 0x00, 0xff, 0x62, 0x5c, 0x61, 0xff, 0x5f, 0x5e, 0x60, 0xff, 0x5e, 0x5e, 0x5e, 0xff, 0x61, 0x5e, 0x60, 0xff, 0x61, 0x5e, 0x60, 0xff, 0x5e, 0x5d, 0x5f, 0xff, 0x8d, 0x8f, 0x90, 0xff, 0xec, 0xec, 0xec, 0xff, 0x5f, 0x5e, 0x60, 0xff, 0xee, 0xee, 0xee, 0xff, 0xa9, 0xa9, 0xaa, 0xff, 0x5e, 0x5d, 0x5f, 0xff, 0x5f, 0x5e, 0x60, 0xff, 0xec, 0xeb, 0xed, 0xff, 0x5e, 0x5e, 0x5e, 0xff, 0xef, 0xef, 0xef, 0xff, 0x5e, 0x5d, 0x5f, 0xff, 0x5f, 0x5f, 0x5f, 0xff, 0x5d, 0x5c, 0x60, 0xff, 0x60, 0x5c, 0x61, 0xff, 0x00, 0x00, 0x00, 0xff, 0x00, 0x00, 0x00, 0x00, 0x00, 0x00, 0x00, 0x00, 0x00, 0x00, 0x00, 0x00,
    0x00, 0x00, 0x00, 0x00, 0x00, 0x00, 0x00, 0x00, 0x00, 0x00, 0x00, 0x00, 0x00, 0x00, 0x00, 0xff, 0x5f, 0x58, 0x5f, 0xff, 0x5f, 0x5e, 0x60, 0xff, 0x5d, 0x5c, 0x60, 0xff, 0x5d, 0x5f, 0x60, 0xff, 0x60, 0x5c, 0x62, 0xff, 0x60, 0x5c, 0x61, 0xff, 0x5c, 0x5b, 0x5d, 0xff, 0xe9, 0xe8, 0xea, 0xff, 0xec, 0xeb, 0xed, 0xff, 0xea, 0xea, 0xea, 0xff, 0x5b, 0x5c, 0x60, 0xff, 0x60, 0x5d, 0x5f, 0xff, 0x61, 0x5d, 0x63, 0xff, 0xee, 0xed, 0xef, 0xff, 0xea, 0xe9, 0xeb, 0xff, 0xed, 0xed, 0xed, 0xff, 0x60, 0x5f, 0x61, 0xff, 0x5f, 0x5f, 0x60, 0xff, 0x5d, 0x5c, 0x5e, 0xff, 0x62, 0x5b, 0x62, 0xff, 0x03, 0x03, 0x03, 0xff, 0x00, 0x00, 0x00, 0x00, 0x00, 0x00, 0x00, 0x00, 0x00, 0x00, 0x00, 0x00,
    0x00, 0x00, 0x00, 0xff, 0x00, 0x00, 0x00, 0xff, 0x03, 0x03, 0x03, 0xff, 0x03, 0x03, 0x03, 0xff, 0x62, 0x5f, 0x61, 0xff, 0x61, 0x60, 0x62, 0xff, 0x60, 0x5c, 0x61, 0xff, 0x5e, 0x5d, 0x5f, 0xff, 0x5f, 0x5c, 0x5e, 0xff, 0x5f, 0x5e, 0x60, 0xff, 0x5f, 0x5e, 0x60, 0xff, 0x61, 0x5e, 0x60, 0xff, 0x5f, 0x5e, 0x60, 0xff, 0x5e, 0x5d, 0x61, 0xff, 0x60, 0x5c, 0x61, 0xff, 0x61, 0x5d, 0x62, 0xff, 0x5f, 0x5e, 0x60, 0xff, 0x63, 0x5e, 0x60, 0xff, 0x5f, 0x5e, 0x60, 0xff, 0x62, 0x60, 0x60, 0xff, 0x61, 0x5e, 0x60, 0xff, 0x5f, 0x5f, 0x5f, 0xff, 0x5b, 0x5c, 0x60, 0xff, 0x62, 0x5a, 0x64, 0xff, 0x00, 0x00, 0x00, 0xff, 0x00, 0x01, 0x00, 0xff, 0x02, 0x02, 0x02, 0xff, 0x01, 0x01, 0x01, 0xff,
    0x02, 0x03, 0x07, 0xff, 0x74, 0x9e, 0xe1, 0xff, 0x42, 0x5e, 0x9e, 0xff, 0x01, 0x01, 0x01, 0xff, 0x62, 0x5b, 0x60, 0xff, 0x5f, 0x5e, 0x62, 0xff, 0x5d, 0x5e, 0x62, 0xff, 0x60, 0x5f, 0x63, 0xff, 0x61, 0x5e, 0x60, 0xff, 0x5f, 0x5e, 0x60, 0xff, 0x5f, 0x5e, 0x60, 0xff, 0x5e, 0x5d, 0x61, 0xff, 0x5f, 0x5e, 0x60, 0xff, 0x61, 0x5e, 0x60, 0xff, 0x5e, 0x5d, 0x5f, 0xff, 0x5f, 0x5e, 0x60, 0xff, 0x61, 0x5e, 0x60, 0xff, 0x61, 0x5e, 0x60, 0xff, 0x61, 0x5e, 0x60, 0xff, 0x5e, 0x5d, 0x5f, 0xff, 0x5d, 0x5c, 0x60, 0xff, 0x5f, 0x5f, 0x5f, 0xff, 0x5d, 0x5c, 0x60, 0xff, 0x60, 0x59, 0x60, 0xff, 0x00, 0x00, 0x00, 0xff, 0x42, 0x5e, 0x9b, 0xff, 0x6e, 0x96, 0xde, 0xff, 0x02, 0x03, 0x07, 0xff,
    0x00, 0x00, 0x00, 0xff, 0x72, 0x9e, 0xde, 0xff, 0x43, 0x5e, 0x9e, 0xff, 0x00, 0x00, 0x00, 0xff, 0x62, 0x5b, 0x60, 0xff, 0x5f, 0x5e, 0x60, 0xff, 0x5d, 0x5e, 0x62, 0xff, 0x5f, 0x5f, 0x5f, 0xff, 0x5e, 0x5d, 0x5f, 0xff, 0x5f, 0x5e, 0x60, 0xff, 0x5f, 0x5f, 0x5f, 0xff, 0x60, 0x5f, 0x61, 0xff, 0x5f, 0x5c, 0x5e, 0xff, 0x5e, 0x5d, 0x5f, 0xff, 0x60, 0x5d, 0x5f, 0xff, 0x62, 0x60, 0x60, 0xff, 0x60, 0x5f, 0x61, 0xff, 0x60, 0x5f, 0x63, 0xff, 0x61, 0x5e, 0x60, 0xff, 0x5f, 0x5f, 0x5f, 0xff, 0x61, 0x5d, 0x62, 0xff, 0x60, 0x60, 0x60, 0xff, 0x5e, 0x5d, 0x61, 0xff, 0x61, 0x5a, 0x61, 0xff, 0x00, 0x00, 0x00, 0xff, 0x45, 0x60, 0xa0, 0xff, 0x70, 0x9b, 0xde, 0xff, 0x00, 0x00, 0x00, 0xff,
    0x03, 0x03, 0x03, 0xff, 0x14, 0x25, 0x3f, 0xff, 0x0e, 0x1b, 0x35, 0xff, 0x04, 0x04, 0x04, 0xff, 0x60, 0x5c, 0x61, 0xff, 0x5d, 0x5e, 0x62, 0xff, 0x5d, 0x5c, 0x60, 0xff, 0x5e, 0x5e, 0x5e, 0xff, 0x5e, 0x5d, 0x61, 0xff, 0x61, 0x5d, 0x62, 0xff, 0x60, 0x5f, 0x61, 0xff, 0x5f, 0x5e, 0x60, 0xff, 0x60, 0x5d, 0x5f, 0xff, 0x5f, 0x5f, 0x5f, 0xff, 0x5e, 0x5d, 0x61, 0xff, 0x5e, 0x5e, 0x5e, 0xff, 0x5f, 0x5e, 0x60, 0xff, 0x60, 0x5f, 0x63, 0xff, 0x60, 0x5d, 0x5f, 0xff, 0x60, 0x60, 0x60, 0xff, 0x60, 0x5d, 0x5f, 0xff, 0x5e, 0x5d, 0x5f, 0xff, 0x59, 0x5a, 0x5e, 0xff, 0x62, 0x5c, 0x61, 0xff, 0x03, 0x03, 0x03, 0xff, 0x0f, 0x1a, 0x36, 0xff, 0x16, 0x27, 0x42, 0xff, 0x00, 0x02, 0x03, 0xff,
    0x00, 0x00, 0x00, 0x00, 0x00, 0x00, 0x00, 0x00, 0x00, 0x00, 0x00, 0x00, 0x00, 0x00, 0x00, 0xff, 0x5f, 0x59, 0x5e, 0xff, 0x65, 0x5e, 0x65, 0xff, 0x90, 0x93, 0x98, 0xff, 0x91, 0x95, 0x9a, 0xff, 0x8f, 0x93, 0x98, 0xff, 0x90, 0x93, 0x98, 0xff, 0x8f, 0x94, 0x95, 0xff, 0x8e, 0x92, 0x97, 0xff, 0x8f, 0x93, 0x98, 0xff, 0x90, 0x93, 0x98, 0xff, 0x8f, 0x93, 0x98, 0xff, 0x8f, 0x93, 0x98, 0xff, 0x90, 0x94, 0x99, 0xff, 0x8f, 0x92, 0x97, 0xff, 0x90, 0x94, 0x99, 0xff, 0x91, 0x96, 0x99, 0xff, 0x91, 0x95, 0x9a, 0xff, 0x93, 0x98, 0x9b, 0xff, 0x67, 0x5f, 0x66, 0xff, 0x5e, 0x57, 0x5c, 0xff, 0x00, 0x00, 0x00, 0xff, 0x00, 0x00, 0x00, 0x00, 0x00, 0x00, 0x00, 0x00, 0x00, 0x00, 0x00, 0x00,
    0x00, 0x00, 0x00, 0x00, 0x00, 0x00, 0x00, 0x00, 0x00, 0x00, 0x00, 0x00, 0x00, 0x00, 0x00, 0xff, 0x02, 0x02, 0x02, 0xff, 0x54, 0x4a, 0x50, 0xff, 0x53, 0x48, 0x50, 0xff, 0x53, 0x48, 0x50, 0xff, 0x50, 0x49, 0x4e, 0xff, 0x51, 0x47, 0x4d, 0xff, 0x4f, 0x48, 0x4d, 0xff, 0x50, 0x45, 0x4d, 0xff, 0x53, 0x49, 0x4f, 0xff, 0x53, 0x49, 0x4f, 0xff, 0x50, 0x4a, 0x4f, 0xff, 0x51, 0x4b, 0x50, 0xff, 0x50, 0x49, 0x4e, 0xff, 0x4f, 0x48, 0x4d, 0xff, 0x4e, 0x47, 0x4c, 0xff, 0x4f, 0x48, 0x4d, 0xff, 0x51, 0x47, 0x4d, 0xff, 0x51, 0x4a, 0x4f, 0xff, 0x52, 0x48, 0x4e, 0xff, 0x02, 0x02, 0x02, 0xff, 0x01, 0x03, 0x03, 0xff, 0x00, 0x00, 0x00, 0x00, 0x00, 0x00, 0x00, 0x00, 0x00, 0x00, 0x00, 0x00,
    0x00, 0x00, 0x00, 0x00, 0x00, 0x00, 0x00, 0x00, 0x00, 0x00, 0x00, 0x00, 0x00, 0x00, 0x00, 0x00, 0x02, 0x03, 0x01, 0xff, 0x01, 0x01, 0x01, 0xff, 0x00, 0x00, 0x00, 0xff, 0x00, 0x00, 0x00, 0xff, 0x01, 0x01, 0x01, 0xff, 0x01, 0x01, 0x01, 0xff, 0x01, 0x02, 0x00, 0xff, 0x02, 0x02, 0x02, 0xff, 0x00, 0x00, 0x00, 0xff, 0x00, 0x00, 0x00, 0xff, 0x00, 0x00, 0x00, 0xff, 0x01, 0x01, 0x01, 0xff, 0x00, 0x00, 0x00, 0xff, 0x01, 0x02, 0x00, 0xff, 0x00, 0x00, 0x00, 0xff, 0x03, 0x01, 0x01, 0xff, 0x02, 0x01, 0x03, 0xff, 0x00, 0x00, 0x00, 0xff, 0x01, 0x00, 0x02, 0xff, 0x02, 0x02, 0x02, 0xff, 0x00, 0x00, 0x00, 0x00, 0x00, 0x00, 0x00, 0x00, 0x00, 0x00, 0x00, 0x00, 0x00, 0x00, 0x00, 0x00,
};

const lv_image_dsc_t img_player = {
    .header = {
        .magic = LV_IMAGE_HEADER_MAGIC,
        .cf = LV_COLOR_FORMAT_ARGB8888,
        .flags = 0,
        .w = 28,
        .h = 28,
        .stride = 112,
        .reserved_2 = 0,
    },
    .data_size = sizeof(img_player_map),
    .data = img_player_map,
    .reserved = NULL,
    .reserved_2 = NULL,
};
```

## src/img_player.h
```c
/* Auto-generated LVGL ARGB8888 image descriptor */
#ifndef IMG_PLAYER_H
#define IMG_PLAYER_H
#include <lvgl.h>
extern const lv_image_dsc_t img_player;
#endif
```

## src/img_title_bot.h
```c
/* Auto-generated LVGL ARGB8888 image descriptor */
#ifndef IMG_TITLE_BOT_H
#define IMG_TITLE_BOT_H
#include <lvgl.h>
extern const lv_image_dsc_t img_title_bot;
#endif
```

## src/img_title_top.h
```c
/* Auto-generated LVGL ARGB8888 image descriptor */
#ifndef IMG_TITLE_TOP_H
#define IMG_TITLE_TOP_H
#include <lvgl.h>
extern const lv_image_dsc_t img_title_top;
#endif
```
